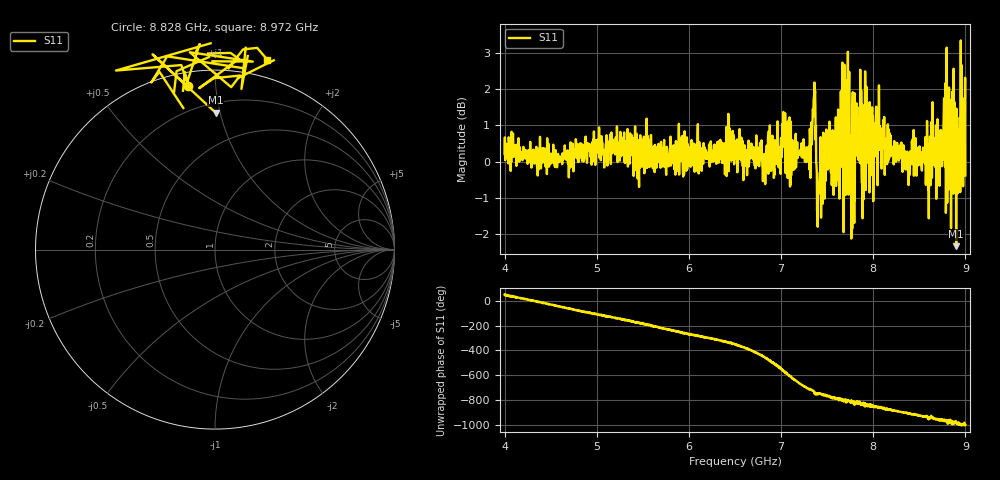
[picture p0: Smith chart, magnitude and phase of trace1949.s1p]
! Created with skrf 1.8.0 (http://scikit-rf.org).
# Hz S RI R 50.0
!freq ReS11 ImS11
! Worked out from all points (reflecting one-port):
!   1601 points, 4 GHz to 9 GHz, reference 50 ohm
!   lowest |S11| = -2.3 dB at 8.9 GHz (marker M1), VSWR 7.46, Z = 13.2 + j48.4 ohm
!   phase of S11 starts at 52 deg and turns -1055 deg over the sweep
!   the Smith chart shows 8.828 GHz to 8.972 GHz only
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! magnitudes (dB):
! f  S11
! 4 GHz  0.2
! 4.625 GHz  -0.1
! 5.25 GHz  0.0
! 5.875 GHz  0.2
! 6.5 GHz  0.4
! 6.816 GHz  0.2
! 7.038 GHz  1.0
! 7.125 GHz  0.2
! 7.294 GHz  0.0
! 7.353 GHz  1.7
! 7.409 GHz  -0.9
! 7.503 GHz  0.3
! 7.619 GHz  1.4
! 7.666 GHz  2.7
! 7.75 GHz  0.7
! 7.784 GHz  0.3
! 7.822 GHz  0.4
! 7.897 GHz  0.3
! 7.928 GHz  1.2
! 7.981 GHz  -0.4
! 8.056 GHz  0.6
! 8.375 GHz  0.1
! 8.434 GHz  -0.1
! 8.612 GHz  -0.5
! 8.759 GHz  0.6
! 8.9 GHz  -2.3
! 8.972 GHz  0.8
! 9 GHz  -0.4
